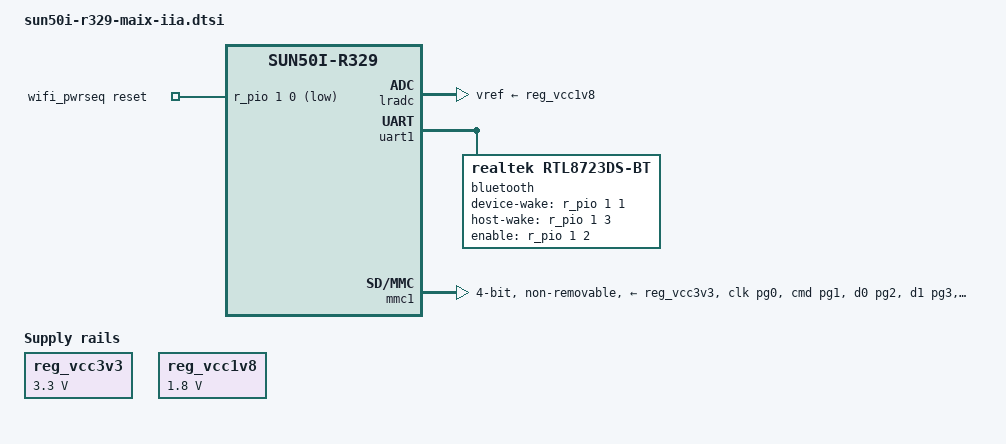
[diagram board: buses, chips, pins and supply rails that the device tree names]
// SPDX-License-Identifier: (GPL-2.0+ OR MIT)
// Copyright (c) 2021 Sipeed

#include "sun50i-r329.dtsi"

#include <dt-bindings/gpio/gpio.h>

/ {
	reg_vcc3v3: vcc3v3 {
		compatible = "regulator-fixed";
		regulator-name = "vcc3v3";
		regulator-min-microvolt = <3300000>;
		regulator-max-microvolt = <3300000>;
	};

	reg_vcc1v8: vcc1v8 {
		compatible = "regulator-fixed";
		regulator-name = "vcc1v8";
		regulator-min-microvolt = <1800000>;
		regulator-max-microvolt = <1800000>;
	};

	wifi_pwrseq: wifi_pwrseq {
		compatible = "mmc-pwrseq-simple";
		reset-gpios = <&r_pio 1 0 GPIO_ACTIVE_LOW>; /* PM0 */
		post-power-on-delay-ms = <200>;
	};
};

&lradc {
	vref-supply = <&reg_vcc1v8>;
};

&uart1 {
	pinctrl-names = "default";
	pinctrl-0 = <&uart1_pg_pins>, <&uart1_pg_rts_cts_pins>;
	uart-has-rtscts;
	status = "okay";

	bluetooth {
		compatible = "realtek,rtl8723ds-bt";
		device-wake-gpios = <&r_pio 1 1 GPIO_ACTIVE_HIGH>; /* PM1 */
		host-wake-gpios = <&r_pio 1 3 GPIO_ACTIVE_HIGH>; /* PM3 */
		enable-gpios = <&r_pio 1 2 GPIO_ACTIVE_HIGH>; /* PM2 */
		max-speed = <1500000>;
	};
};

&mmc1 {
	pinctrl-names = "default";
	pinctrl-0 = <&mmc1_clk_pg0>, <&mmc1_cmd_pg1>, <&mmc1_d0_pg2>,
		    <&mmc1_d1_pg3>, <&mmc1_d2_pg4>, <&mmc1_d3_pg5>;

	vmmc-supply = <&reg_vcc3v3>;
	vqmmc-supply = <&reg_vcc3v3>;
	mmc-pwrseq = <&wifi_pwrseq>;
	bus-width = <4>;
	non-removable;
	status = "okay";
};
